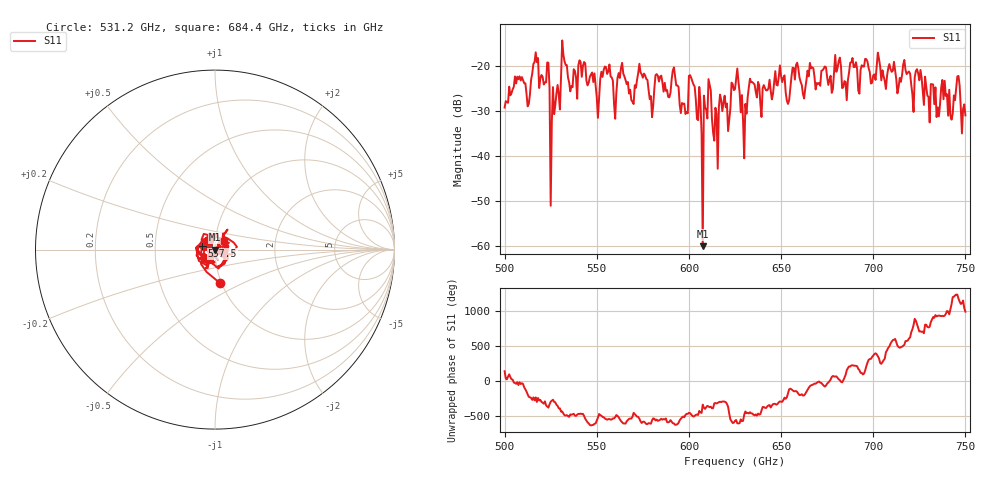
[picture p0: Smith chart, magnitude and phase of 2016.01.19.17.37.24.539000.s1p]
!Created with skrf (http://scikit-rf.org).
# GHz S RI R 50.0
!freq ReS11 ImS11
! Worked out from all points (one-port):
!   401 points, 500 GHz to 750 GHz, reference 50 ohm
!   lowest |S11| = -60.0 dB at 607.5 GHz (marker M1), VSWR 1.00, Z = 50.1 + j0.0288 ohm
!   |S11| at or under -10 dB: start of sweep to end of sweep
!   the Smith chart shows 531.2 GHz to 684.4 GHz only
!   S11 on the Smith chart (normalised r, x): 531.2 GHz: 0.99, -0.39; 557.5 GHz: 0.86, +0.04; 684.4 GHz: 1.10, +0.10
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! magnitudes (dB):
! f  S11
! 500 GHz  -29.3
! 513.1 GHz  -28.5
! 516.9 GHz  -17.0
! 523.1 GHz  -19.3
! 526.2 GHz  -24.8
! 531.2 GHz  -14.4
! 550.6 GHz  -31.6
! 557.5 GHz  -22.4
! 560 GHz  -31.8
! 562.5 GHz  -22.7
! 568.8 GHz  -27.6
! 573.8 GHz  -21.5
! 579.4 GHz  -26.8
! 593.8 GHz  -24.4
! 598.1 GHz  -30.7
! 601.9 GHz  -23.5
! 607.5 GHz  -60.0
! 610.6 GHz  -23.0
! 614.4 GHz  -29.3
! 625 GHz  -25.2
! 630.6 GHz  -28.5
! 633.8 GHz  -23.6
! 656.2 GHz  -20.5
! 680.6 GHz  -20.6
! 684.4 GHz  -23.4
! 687.5 GHz  -19.3
! 718.8 GHz  -21.5
! 750 GHz  -31.0
